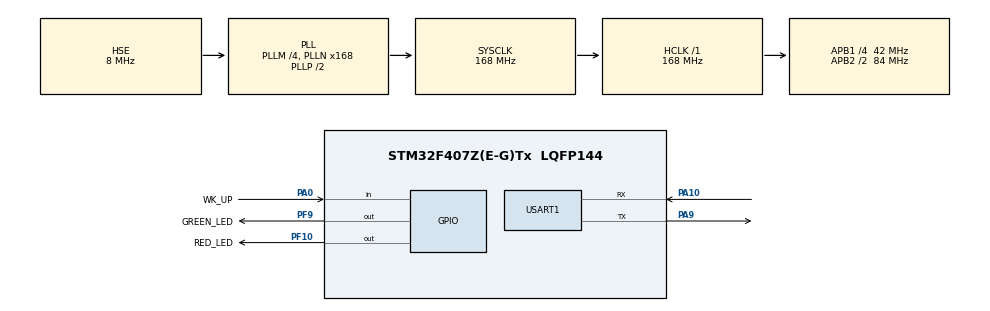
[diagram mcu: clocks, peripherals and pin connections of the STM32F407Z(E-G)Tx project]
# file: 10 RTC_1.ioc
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Mcu.Family=STM32F4
Mcu.Name=STM32F407Z(E-G)Tx
Mcu.Package=LQFP144
NVIC.PriorityGroup=NVIC_PRIORITYGROUP_4
NVIC.RTC_Alarm_IRQn=true\:1\:0\:true\:false\:true\:true\:true\:true
NVIC.RTC_WKUP_IRQn=true\:1\:0\:true\:false\:true\:true\:true\:true
PA0-WKUP.GPIO_Label=WK_UP
PA0-WKUP.GPIO_PuPd=GPIO_PULLDOWN
PA0-WKUP.Signal=GPIO_Input
PA10.Mode=Asynchronous
PA10.Signal=USART1_RX
PA13.Mode=Serial_Wire
PA13.Signal=SYS_JTMS-SWDIO
PA14.Mode=Serial_Wire
PA14.Signal=SYS_JTCK-SWCLK
PA9.Mode=Asynchronous
PA9.Signal=USART1_TX
PC14-OSC32_IN.Mode=LSE-External-Oscillator
PC14-OSC32_IN.Signal=RCC_OSC32_IN
PC15-OSC32_OUT.Mode=LSE-External-Oscillator
PC15-OSC32_OUT.Signal=RCC_OSC32_OUT
PF10.GPIO_Label=RED_LED
PF10.GPIO_PuPd=GPIO_PULLUP
PF10.PinState=GPIO_PIN_SET
PF10.Signal=GPIO_Output
PF9.GPIO_Label=GREEN_LED
PF9.GPIO_PuPd=GPIO_PULLUP
PF9.PinState=GPIO_PIN_SET
PF9.Signal=GPIO_Output
PH0-OSC_IN.Mode=HSE-External-Oscillator
PH0-OSC_IN.Signal=RCC_OSC_IN
PH1-OSC_OUT.Mode=HSE-External-Oscillator
PH1-OSC_OUT.Signal=RCC_OSC_OUT
ProjectManager.HeapSize=0x200
ProjectManager.StackSize=0x400
ProjectManager.TargetToolchain=MDK-ARM V5.32
RCC.48MHZClocksFreq_Value=84000000
RCC.AHBFreq_Value=168000000
RCC.APB1CLKDivider=RCC_HCLK_DIV4
RCC.APB1Freq_Value=42000000
RCC.APB1TimFreq_Value=84000000
RCC.APB2CLKDivider=RCC_HCLK_DIV2
RCC.APB2Freq_Value=84000000
RCC.APB2TimFreq_Value=168000000
RCC.CortexFreq_Value=168000000
RCC.HCLKFreq_Value=168000000
RCC.HSE_VALUE=8000000
RCC.HSI_VALUE=16000000
RCC.PLLM=4
RCC.PLLN=168
RCC.PLLSourceVirtual=RCC_PLLSOURCE_HSE
RCC.RCC_RTC_Clock_Source=RCC_RTCCLKSOURCE_LSE
RCC.RCC_RTC_Clock_SourceVirtual=RCC_RTCCLKSOURCE_LSE
RCC.SYSCLKFreq_VALUE=168000000
RCC.SYSCLKSource=RCC_SYSCLKSOURCE_PLLCLK
RCC.VCOOutputFreq_Value=336000000
RTC.Alarm=RTC_ALARM_A
RTC.AlarmMaskDateWeekDay=RTC_ALARMMASK_DATEWEEKDAY
RTC.AlarmMaskDateWeekDay_B=RTC_ALARMMASK_DATEWEEKDAY
RTC.AlarmMaskHours=RTC_ALARMMASK_HOURS
RTC.AlarmMaskHours_B=RTC_ALARMMASK_HOURS
RTC.AlarmMaskMinutes=RTC_ALARMMASK_MINUTES
RTC.Alarm_B=RTC_ALARM_B
RTC.Date=18
RTC.Month=RTC_MONTH_DECEMBER
RTC.Seconds_A=15
RTC.Seconds_B=30
RTC.WakeUpClock=RTC_WAKEUPCLOCK_CK_SPRE_16BITS
RTC.Year=23
USART1.VirtualMode=VM_ASYNC
VP_RTC_VS_RTC_Activate.Mode=RTC_Enabled
VP_RTC_VS_RTC_Alarm_A_Intern.Mode=Alarm A
VP_RTC_VS_RTC_Alarm_B_Intern.Mode=Alarm B
VP_RTC_VS_RTC_Calendar.Mode=RTC_Calendar
VP_RTC_VS_RTC_WakeUp_intern.Mode=WakeUp
board=custom

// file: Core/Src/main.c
/* USER CODE BEGIN Header */
/**
  ******************************************************************************
  * @file           : main.c
  * @brief          : Main program body
  ******************************************************************************
  * @attention
  *
  * Copyright (c) 2023 STMicroelectronics.
  * All rights reserved.
  *
  * This software is licensed under terms that can be found in the LICENSE file
  * in the root directory of this software component.
  * If no LICENSE file comes with this software, it is provided AS-IS.
  *
  ******************************************************************************
  */
/* USER CODE END Header */
#include "main.h"
#include "rtc.h"
#include "usart.h"
#include "gpio.h"

/* USER CODE BEGIN Includes */
#include <stdio.h>
/* USER CODE END Includes */

/* USER CODE BEGIN PTD */
#ifdef __GNUC__
#define PUTCHAR_PROTOTYPE int __io_putchar(int ch)
#else
#define PUTCHAR_PROTOTYPE int fputc(int ch, FILE *f)
#endif
PUTCHAR_PROTOTYPE
{
      HAL_UART_Transmit(&huart1, (uint8_t *)&ch, 1, HAL_MAX_DELAY);
      return ch;
}
/* USER CODE END PTD */

void SystemClock_Config(void);

int main(void)
{

  /* MCU Configuration--------------------------------------------------------*/

  /* Reset of all peripherals, Initializes the Flash interface and the Systick. */
  HAL_Init();

  /* Configure the system clock */
  SystemClock_Config();

  /* Initialize all configured peripherals */
  MX_GPIO_Init();
  MX_RTC_Init();
  MX_USART1_UART_Init();
  /* USER CODE BEGIN 2 */
	printf("Reset!\r\n");
  /* USER CODE END 2 */

  /* Infinite loop */
  while (1)
  {

    /* USER CODE BEGIN 3 */
		uint32_t iniRTC = HAL_RTCEx_BKUPRead(&hrtc,RTC_BKP_DR0);
		iniRTC = !iniRTC;
		if(HAL_GPIO_ReadPin(WK_UP_GPIO_Port,WK_UP_Pin) == 1)
		{
				HAL_Delay(50);
				if(HAL_GPIO_ReadPin(WK_UP_GPIO_Port,WK_UP_Pin) == 1)
				{
						HAL_RTCEx_BKUPWrite(&hrtc,RTC_BKP_DR0, iniRTC);
						printf("Write RTC_BKP_DR0 %d\r\n", iniRTC);
						while(HAL_GPIO_ReadPin(WK_UP_GPIO_Port,WK_UP_Pin));
				}
		}
  }
  /* USER CODE END 3 */
}

void SystemClock_Config(void)
{
  RCC_OscInitTypeDef RCC_OscInitStruct = {0};
  RCC_ClkInitTypeDef RCC_ClkInitStruct = {0};

  /** Configure the main internal regulator output voltage
  */
  __HAL_RCC_PWR_CLK_ENABLE();
  __HAL_PWR_VOLTAGESCALING_CONFIG(PWR_REGULATOR_VOLTAGE_SCALE1);

  /** Initializes the RCC Oscillators according to the specified parameters
  * in the RCC_OscInitTypeDef structure.
  */
  RCC_OscInitStruct.OscillatorType = RCC_OSCILLATORTYPE_HSE|RCC_OSCILLATORTYPE_LSE;
  RCC_OscInitStruct.HSEState = RCC_HSE_ON;
  RCC_OscInitStruct.LSEState = RCC_LSE_ON;
  RCC_OscInitStruct.PLL.PLLState = RCC_PLL_ON;
  RCC_OscInitStruct.PLL.PLLSource = RCC_PLLSOURCE_HSE;
  RCC_OscInitStruct.PLL.PLLM = 4;
  RCC_OscInitStruct.PLL.PLLN = 168;
  RCC_OscInitStruct.PLL.PLLP = RCC_PLLP_DIV2;
  RCC_OscInitStruct.PLL.PLLQ = 4;
  if (HAL_RCC_OscConfig(&RCC_OscInitStruct) != HAL_OK)
  {
    Error_Handler();
  }

  /** Initializes the CPU, AHB and APB buses clocks
  */
  RCC_ClkInitStruct.ClockType = RCC_CLOCKTYPE_HCLK|RCC_CLOCKTYPE_SYSCLK
                              |RCC_CLOCKTYPE_PCLK1|RCC_CLOCKTYPE_PCLK2;
  RCC_ClkInitStruct.SYSCLKSource = RCC_SYSCLKSOURCE_PLLCLK;
  RCC_ClkInitStruct.AHBCLKDivider = RCC_SYSCLK_DIV1;
  RCC_ClkInitStruct.APB1CLKDivider = RCC_HCLK_DIV4;
  RCC_ClkInitStruct.APB2CLKDivider = RCC_HCLK_DIV2;

  if (HAL_RCC_ClockConfig(&RCC_ClkInitStruct, FLASH_LATENCY_5) != HAL_OK)
  {
    Error_Handler();
  }
}

void Error_Handler(void)
{
  __disable_irq();
  while (1)
  {
  }
}
